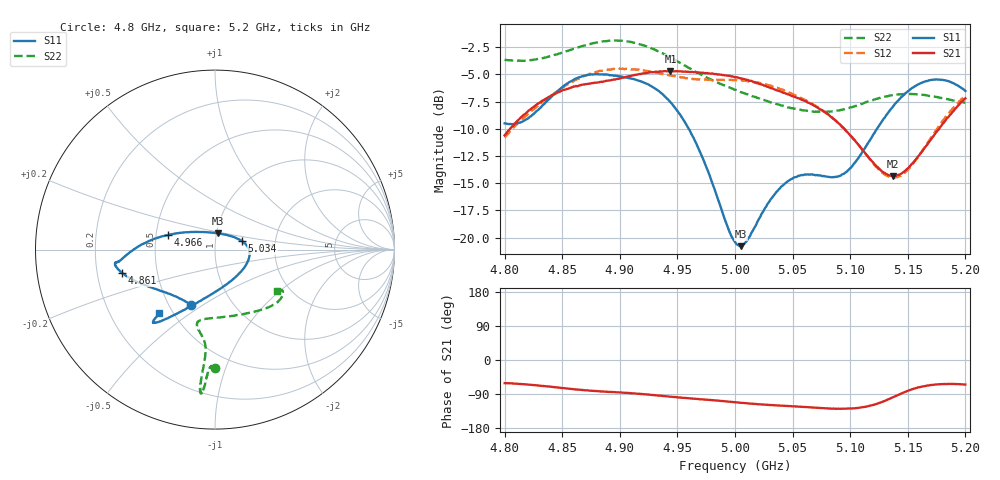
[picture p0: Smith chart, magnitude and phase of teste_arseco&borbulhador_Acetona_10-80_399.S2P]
! Network Analyzer HP8722D
! Hewlett-Packard
! Data name: Linha & Wilkinson
! Saver's name: Rodrigo Anjos
! Comments: Teste da utilização de aquisição
! continua pelo VNA HP8722D
! Time and date: 17/4/2025 17:41
!  Frequency  S11  S21  S12  S22
# HZ  S  MA R 50
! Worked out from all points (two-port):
!   401 points, 4.8 GHz to 5.2 GHz, reference 50 ohm
!   highest |S21| = -4.68 dB at 4.944 GHz (marker M1); lowest = -14.3 dB at 5.137 GHz (marker M2)
!   |S21| within 3 dB of the highest: 4.829 GHz to 5.065 GHz (236 MHz wide, 4.77 % of centre); 5.19528 GHz to end of sweep
!   lowest |S11| = -20.8 dB at 5.005 GHz (marker M3), VSWR 1.20, Z = 50.7 + j9.22 ohm
!   |S11| at or under -10 dB: 4.96 GHz to 5.123 GHz (163.4 MHz wide, 3.24 % of centre)
!   |S22| runs from -8.5 to -1.9 dB; largest |S21 - S12| = 0.87
!   S11 on the Smith chart (normalised r, x): 4.8 GHz: 0.64, -0.44; 4.861 GHz: 0.31, -0.11; 4.966 GHz: 0.58, +0.10; 5.034 GHz: 1.35, +0.13; 5.2 GHz: 0.42, -0.39
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4.8e9  0.335 -114.0  0.295 -61.0  0.2886 -175.2  0.657 -90.2
4.819e9  0.3499 -134.2  0.375 -64.5  0.3641 -174.0  0.6512 -92.0
4.861e9  0.5356 -166.0  0.4944 -77.4  0.528 -177.3  0.7383 -94.2
4.867e9  0.5504 -168.4  0.5039 -79.3  0.5461 -178.4  0.7574 -94.3
4.902e9  0.5482 -172.9  0.5421 -86.0  0.5973 174.5  0.8015 -95.7
4.934e9  0.4708 -178.5  0.578 -94.0  0.5705 171.6  0.7147 -96.0
4.944e9  0.4188 176.9  0.5836 -96.7  0.5555 171.6  0.6726 -95.7
4.966e9  0.2729 162.5  0.5741 -102.4  0.534 173.5  0.5772 -95.3
5e9  0.09563 98.8  0.5464 -111.4  0.5315 175.8  0.4781 -99.3
5.005e9  0.09144 80.2  0.5391 -113.0  0.5271 175.8  0.4659 -100.4
5.011e9  0.09815 59.5  0.5306 -114.5  0.524 175.6  0.4557 -101.9
5.034e9  0.1574 17.7  0.4801 -119.6  0.4927 174.6  0.4129 -103.4
5.05e9  0.1871 1.8  0.4471 -122.3  0.4563 173.8  0.3935 -99.2
5.067e9  0.1951 -16.5  0.4085 -125.3  0.4123 173.3  0.3803 -90.3
5.086e9  0.1898 -46.9  0.3494 -128.2  0.3499 173.8  0.3811 -75.7
5.097e9  0.2008 -69.1  0.307 -128.6  0.3078 174.8  0.3917 -66.8
5.123e9  0.3148 -108.9  0.2122 -115.8  0.211 -170.2  0.4344 -48.5
5.134e9  0.3811 -117.6  0.1933 -102.5  0.1897 -155.5  0.4489 -43.1
5.137e9  0.3988 -119.4  0.1917 -98.5  0.1884 -150.8  0.4518 -41.8
5.15e9  0.4698 -125.1  0.208 -81.3  0.2048 -131.0  0.4572 -36.9
5.17e9  0.5298 -129.6  0.2816 -66.1  0.2874 -112.3  0.4474 -32.2
5.2e9  0.4718 -131.0  0.4367 -64.8  0.4489 -106.9  0.4163 -33.6
